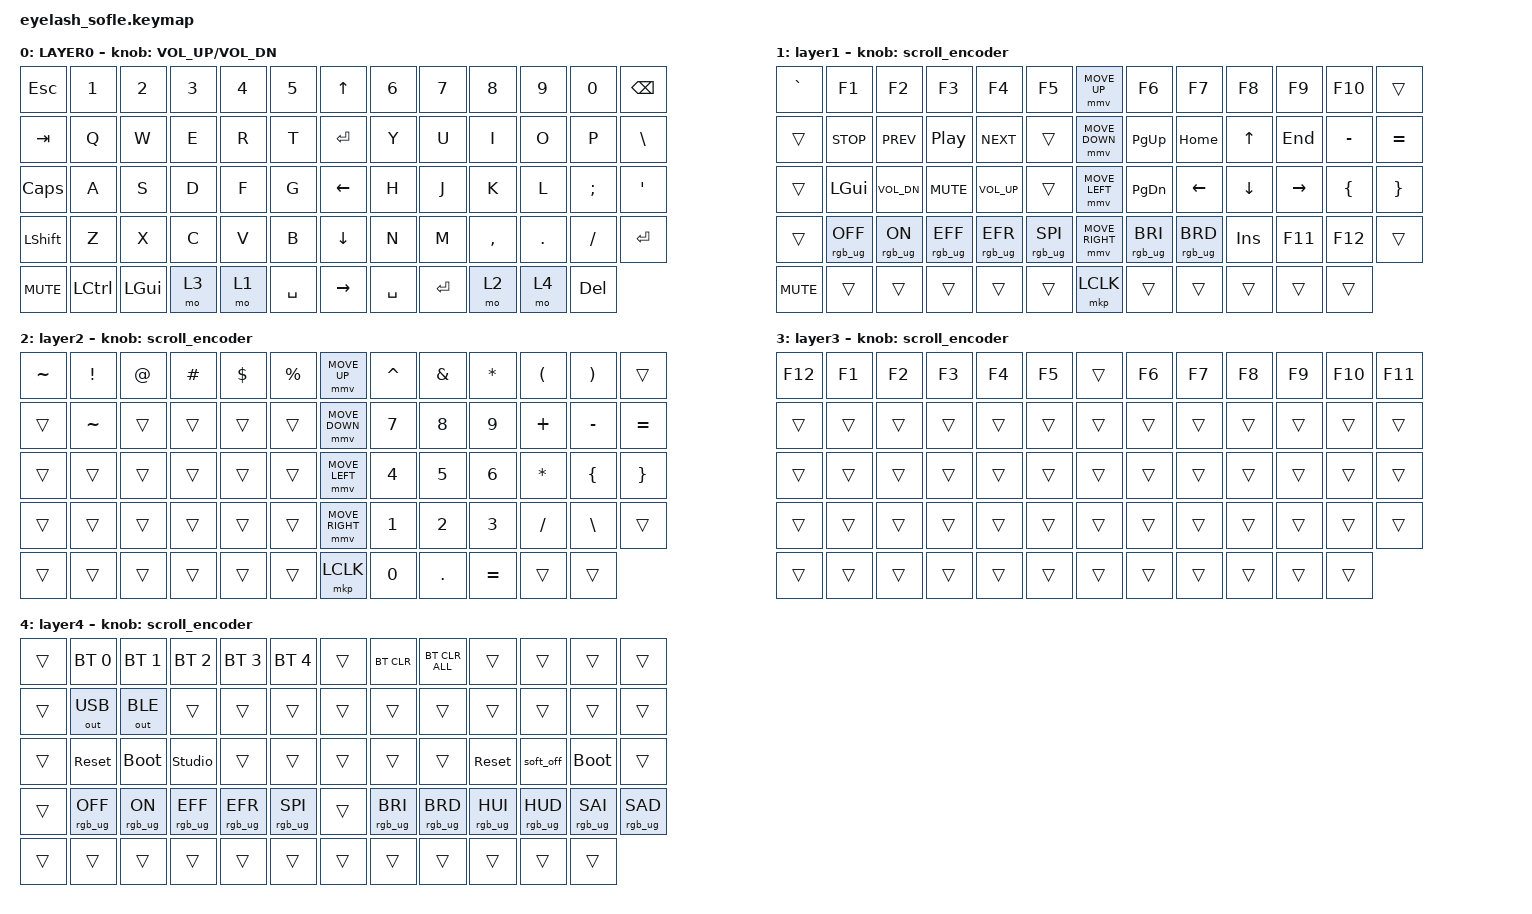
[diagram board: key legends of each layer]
#define ZMK_POINTING_DEFAULT_MOVE_VAL 1200  // 600
#define ZMK_POINTING_DEFAULT_SCRL_VAL 25   // 10

#include <input/processors.dtsi>
#include <zephyr/dt-bindings/input/input-event-codes.h>
#include <behaviors.dtsi>
#include <dt-bindings/zmk/bt.h>
#include <dt-bindings/zmk/keys.h>
#include <dt-bindings/zmk/outputs.h>
#include <dt-bindings/zmk/pointing.h>
#include <dt-bindings/zmk/rgb.h>

&mmv_input_listener { input-processors = <&zip_xy_scaler 2 1>; };

&msc_input_listener { input-processors = <&zip_scroll_scaler 2 1>; };

&msc {
    acceleration-exponent = <1>;      // 0
    time-to-max-speed-ms = <100>;       // 300
    delay-ms = <0>;                   // 0
};

&mmv {
    time-to-max-speed-ms = <500>;
    acceleration-exponent = <1>;
    trigger-period-ms = <16>;
};

&soft_off { hold-time-ms = <2000>; };

/ {
    scroll_encoder: scroll_encoder {
        compatible = "zmk,behavior-sensor-rotate";
        #sensor-binding-cells = <0>;
        bindings = <&msc SCRL_DOWN>, <&msc SCRL_UP>;

        tap-ms = <100>;
    };

    behaviors {
    };

    combos {
        compatible = "zmk,combos";

        softoff {
            bindings = <&soft_off>;
            key-positions = <14 28 40>;
        };
    };

    macros {
        SHIFT_MCLK: SHIFT_MCLK {
            compatible = "zmk,behavior-macro";
            #binding-cells = <0>;
            bindings =
                <&macro_press>,
                <&kp LEFT_SHIFT>,
                <&macro_press>,
                <&mkp MB3>,
                <&macro_pause_for_release>,
                <&macro_release>,
                <&kp LEFT_SHIFT &mkp MB3>;

            label = "SHIFT_MCLK";
        };
    };

    keymap {
        compatible = "zmk,keymap";

        layer0 {
            bindings = <
&kp ESC     &kp N1     &kp N2        &kp N3        &kp N4  &kp N5       &kp UP_ARROW     &kp N6     &kp N7     &kp N8     &kp N9           &kp N0      &kp BACKSPACE
&kp TAB     &kp Q      &kp W         &kp E         &kp R   &kp T        &kp ENTER        &kp Y      &kp U      &kp I      &kp O            &kp P       &kp BSLH
&kp CAPS    &kp A      &kp S         &kp D         &kp F   &kp G        &kp LEFT_ARROW   &kp H      &kp J      &kp K      &kp L            &kp SEMI    &kp APOS
&kp LSHFT   &kp Z      &kp X         &kp C         &kp V   &kp B        &kp DOWN_ARROW   &kp N      &kp M      &kp COMMA  &kp DOT          &kp FSLH    &kp ENTER
&kp C_MUTE  &kp LCTRL  &kp LEFT_GUI  &mo 3         &mo 1   &kp SPACE    &kp RIGHT_ARROW  &kp SPACE  &kp ENTER  &mo 2      &mo 4            &kp DELETE
            >;

            sensor-bindings = <&inc_dec_kp C_VOLUME_UP C_VOL_DN>;
            display-name = "LAYER0";
        };

        layer_1 {
            bindings = <
&kp GRAVE   &kp F1           &kp F2          &kp F3           &kp F4           &kp F5             &mmv MOVE_UP     &kp F6           &kp F7           &kp F8      &kp F9     &kp F10           &trans
&trans      &kp C_STOP       &kp C_PREV      &kp C_PP         &kp C_NEXT       &trans             &mmv MOVE_DOWN   &kp PG_UP        &kp HOME         &kp UP      &kp END    &kp MINUS         &kp EQUAL
&trans      &kp LGUI         &kp C_VOL_DN    &kp C_MUTE       &kp C_VOL_UP     &trans             &mmv MOVE_LEFT   &kp PG_DN        &kp LEFT         &kp DOWN    &kp RIGHT  &kp LBRC          &kp RBRC
&trans      &rgb_ug RGB_OFF  &rgb_ug RGB_ON  &rgb_ug RGB_EFF  &rgb_ug RGB_EFR  &rgb_ug RGB_SPI    &mmv MOVE_RIGHT  &rgb_ug RGB_BRI  &rgb_ug RGB_BRD  &kp INSERT  &kp F11    &kp F12           &trans
&kp C_MUTE  &trans           &trans          &trans           &trans           &trans             &mkp LCLK        &trans           &trans           &trans      &trans     &trans
            >;

            display-name = "layer1";
            sensor-bindings = <&scroll_encoder>;
        };

        layer_2 {
            bindings = <
&kp TILDE  &kp EXCL    &kp AT      &kp HASH    &kp DLLR    &kp PRCNT    &mmv MOVE_UP     &kp CARET  &kp AMPS  &kp ASTRK  &kp LPAR   &kp RPAR   &trans
&trans     &kp TILDE   &trans      &trans      &trans      &trans       &mmv MOVE_DOWN   &kp N7     &kp N8    &kp N9     &kp PLUS   &kp MINUS  &kp EQUAL
&trans     &trans      &trans      &trans      &trans      &trans       &mmv MOVE_LEFT   &kp N4     &kp N5    &kp N6     &kp ASTRK  &kp LBRC   &kp RBRC
&trans     &trans      &trans      &trans      &trans      &trans       &mmv MOVE_RIGHT  &kp N1     &kp N2    &kp N3     &kp FSLH   &kp BSLH   &trans
&trans     &trans      &trans      &trans      &trans      &trans       &mkp LCLK        &kp N0     &kp DOT   &kp EQUAL  &trans     &trans
            >;

            display-name = "layer2";
            sensor-bindings = <&scroll_encoder>;
        };

        layer_3 {
            bindings = <
&kp F12  &kp F1  &kp F2  &kp F3  &kp F4  &kp F5    &trans  &kp F6  &kp F7  &kp F8  &kp F9  &kp F10  &kp F11
&trans   &trans  &trans  &trans  &trans  &trans    &trans  &trans  &trans  &trans  &trans  &trans   &trans
&trans   &trans  &trans  &trans  &trans  &trans    &trans  &trans  &trans  &trans  &trans  &trans   &trans
&trans   &trans  &trans  &trans  &trans  &trans    &trans  &trans  &trans  &trans  &trans  &trans   &trans
&trans   &trans  &trans  &trans  &trans  &trans    &trans  &trans  &trans  &trans  &trans  &trans
            >;

            display-name = "layer3";
            sensor-bindings = <&scroll_encoder>;
        };

        layer_4 {
            bindings = <
&trans      &bt BT_SEL 0     &bt BT_SEL 1     &bt BT_SEL 2     &bt BT_SEL 3     &bt BT_SEL 4       &trans           &bt BT_CLR       &bt BT_CLR_ALL   &trans           &trans           &trans           &trans
&trans      &out OUT_USB     &out OUT_BLE     &trans           &trans           &trans             &trans           &trans           &trans           &trans           &trans           &trans           &trans
&trans      &sys_reset       &bootloader      &studio_unlock   &trans           &trans             &trans           &trans           &trans           &sys_reset       &soft_off        &bootloader      &trans
&trans      &rgb_ug RGB_OFF  &rgb_ug RGB_ON   &rgb_ug RGB_EFF  &rgb_ug RGB_EFR  &rgb_ug RGB_SPI    &trans           &rgb_ug RGB_BRI  &rgb_ug RGB_BRD  &rgb_ug RGB_HUI  &rgb_ug RGB_HUD  &rgb_ug RGB_SAI  &rgb_ug RGB_SAD
&trans      &trans           &trans           &trans           &trans           &trans             &trans           &trans           &trans           &trans           &trans           &trans
            >;

            display-name = "layer4";
            sensor-bindings = <&scroll_encoder>;
        };
    };
};
